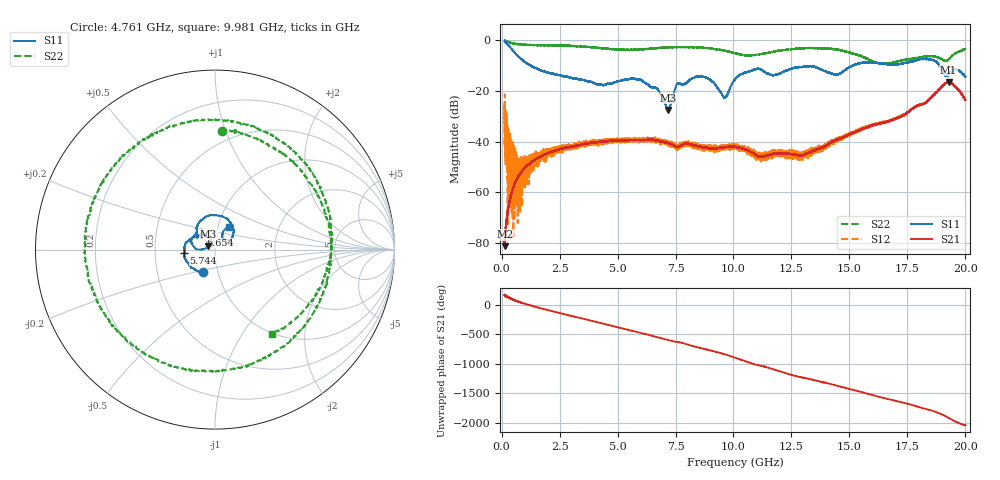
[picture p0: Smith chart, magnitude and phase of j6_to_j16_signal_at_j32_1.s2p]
!Created with skrf (http://scikit-rf.org).
# GHz S RI R 50.0
!freq ReS11 ImS11 ReS21 ImS21 ReS12 ImS12 ReS22 ImS22
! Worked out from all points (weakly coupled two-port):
!   20013 points, 130 MHz to 20 GHz, reference 50 ohm
!   highest |S21| = -16.48 dB at 19.27 GHz (marker M1); lowest = -81.2 dB at 140 MHz (marker M2)
!   lowest |S11| = -27.5 dB at 7.182 GHz (marker M3), VSWR 1.09, Z = 46.4 + j1.87 ohm
!   |S11| at or under -10 dB: 1.256487 GHz to 1.260739 GHz (4.252 MHz wide, 0.338 % of centre); 1.261 GHz to 15.13 GHz (13.87 GHz wide, 169 % of centre); 18.88 GHz to end of sweep (the widest 3 of 14)
!   |S22| runs from -9.5 to -0.1 dB; largest |S21 - S12| = 0.085
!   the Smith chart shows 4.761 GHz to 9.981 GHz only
!   S11 on the Smith chart (normalised r, x): 4.761 GHz: 0.85, -0.21; 5.744 GHz: 0.70, -0.02; 6.654 GHz: 0.84, +0.14; 9.981 GHz: 1.13, +0.30
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0.13  0.8104 -0.4888  -9.92e-05 1.46e-05  -0.0457 0.0066  0.6263 -0.7547
0.14  0.7903 -0.5172  -8.64e-05 6.97e-06  0.0378 -0.0764  0.5763 -0.7925
0.563  -0.1771 -0.5451  0.000261 0.00145  -4.45e-05 -0.000495  -0.8377 -0.1821
1.212  -0.3247 0.0212  0.0037 -0.000204  0.00322 -0.000933  -0.0634 0.8019
2.125  0.0381 0.2182  -0.00102 -0.00614  -0.00137 -0.00641  0.7817 -0.1164
3.442  0.1083 -0.1251  -0.00612 0.00627  -0.00563 0.00561  -0.5676 -0.4886
4.761  -0.0668 -0.1229  0.0103 0.00108  0.0107 0.000921  0.0378 0.6636
5.744  -0.1736 -0.0172  9.11e-05 -0.0107  0.000315 -0.0105  0.6003 -0.2454
6.654  -0.0788 0.083  -0.0106 0.000284  -0.0106 0.000861  -0.3327 -0.6086
6.754  -0.0641 0.0831  -0.0101 0.00236  -0.0102 0.00217  -0.4378 -0.5532
7.182  -0.0372 0.0201  -0.00516 0.00778  -0.00474 0.00829  -0.7076 -0.1452
8.428  -0.0395 0.1872  0.00818 0.000431  0.00788 0.000229  0.0587 0.7197
9.981  0.0786 0.1286  -0.00765 -0.00203  -0.00792 -0.0017  0.3153 -0.4702
10.065  0.1045 0.1309  -0.00793 -0.000447  -0.00792 -0.000122  0.2347 -0.4992
11.171  0.0371 -0.2659  0.00341 0.00363  0.0033 0.00381  -0.5367 -0.00283
12.065  -0.1158 0.1979  0.00308 -0.00496  0.00267 -0.00473  0.0294 0.6271
13.377  0.2886 -0.0973  -0.00634 0.000852  -0.00697 0.00109  0.6439 -0.282
15.074  0.0959 -0.288  0.0144 0.00104  0.0143 0.000861  -0.5298 -0.1505
16.689  -0.315 -0.1172  -0.0243 -0.00768  -0.0242 -0.0073  0.3319 -0.1016
18.102  -0.1805 0.3809  0.035 0.0424  0.0345 0.0404  -0.4562 -0.0659
19.273  0.17 0.127  -0.0767 -0.1289  -0.0761 -0.1269  -0.1465 0.3841
20  0.1775 -0.07  -0.023 0.0611  -0.026 0.0612  0.3457 0.5894
